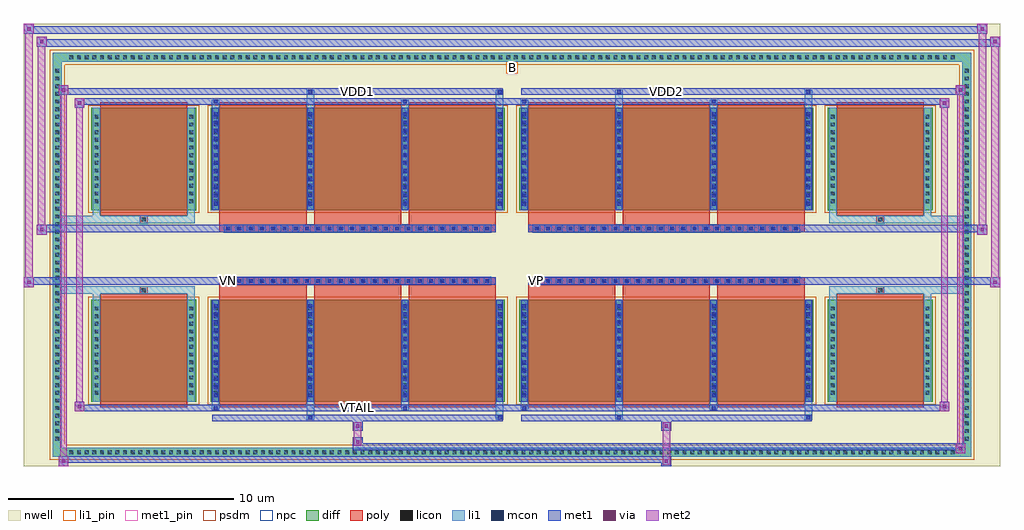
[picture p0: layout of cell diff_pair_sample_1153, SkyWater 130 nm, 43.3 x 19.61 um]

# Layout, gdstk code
import gdstk
lib = gdstk.Library(unit=1e-6, precision=5e-09)
def R(c, l, rs):  # rectangles x0, y0, x1, y1
    for r in rs: c.add(gdstk.rectangle(r[:2], r[2:], *l))
def A(c, l, x, y, w, h, nx, ny, dx, dy):  # array of equal rectangles
    R(c, l, [(x+i*dx, y+j*dy, x+i*dx+w, y+j*dy+h) for i in range(nx) for j in range(ny)])
def P(c, l, *ps):  # polygons
    for p in ps: c.add(gdstk.Polygon(p, *l))
nwell = (64, 20)
diff = (65, 20)
poly = (66, 20)
licon = (66, 44)
li1_pin = (67, 16)
li1 = (67, 20)
mcon = (67, 44)
met1_pin = (68, 16)
met1 = (68, 20)
via = (68, 44)
met2 = (69, 20)
psdm = (94, 20)
npc = (95, 20)

diff_pair_sample_1153 = lib.new_cell('diff_pair_sample_1153')
R(diff_pair_sample_1153, nwell, [(-21.65,-9.37,21.65,10.24), (-18.97,-7.56,-0.01,-0.8), (0.01,-7.56,18.97,-0.8), (-18.97,0.8,-0.01,7.56), (0.01,0.8,18.97,7.56)])
A(diff_pair_sample_1153, diff, -19.755, -8.97, 0.41, 0.41, 116, 2, 0.34, 17.53)
A(diff_pair_sample_1153, diff, -20.38, -8.365, 0.41, 0.41, 1, 49, 0, 0.34)
A(diff_pair_sample_1153, diff, 19.97, -8.365, 0.41, 0.41, 1, 49, 0, 0.34)
R(diff_pair_sample_1153, diff, [(-19.755,-8.97,19.755,-8.56), (-20.38,-8.365,-19.97,8.365), (19.97,-8.365,20.38,8.365), (-18.66,-6.515,-14.01,-1.985), (-13.37,-6.515,-0.32,-1.985), (0.32,-6.515,13.37,-1.985), (14.01,-6.515,18.66,-1.985), (-18.66,1.985,-14.01,6.515), (-13.37,1.985,-0.32,6.515), (0.32,1.985,13.37,6.515), (14.01,1.985,18.66,6.515), (-19.755,8.56,19.755,8.97)])
P(diff_pair_sample_1153, diff, [(20.38,8.97),(-20.38,8.97),(-20.38,-8.56),(-19.97,-8.56),(-19.97,8.56),(19.97,8.56),(19.97,-8.56),(-19.97,-8.56),(-20.38,-8.56),(-20.38,-8.97),(20.38,-8.97)])
A(diff_pair_sample_1153, poly, -12.98, -6.765, 3.87, 5.03, 3, 2, 4.2, 8.5)
A(diff_pair_sample_1153, poly, 0.71, -6.765, 3.87, 5.03, 3, 2, 4.2, 8.5)
A(diff_pair_sample_1153, poly, -12.98, -1.735, 3.87, 0.405, 3, 2, 4.2, 3.065)
A(diff_pair_sample_1153, poly, 0.71, -1.735, 3.87, 0.405, 3, 2, 4.2, 3.065)
A(diff_pair_sample_1153, poly, -12.76, -1.33, 0.33, 0.33, 24, 2, 0.5, 2.33)
A(diff_pair_sample_1153, poly, 0.93, -1.33, 0.33, 0.33, 24, 2, 0.5, 2.33)
R(diff_pair_sample_1153, poly, [(-18.27,-6.765,-14.4,-1.735), (14.4,-6.765,18.27,-1.735), (-16.5,-1.735,-16.17,-1.405), (-16.5,-1.735,-16.17,-1.405), (16.17,-1.735,16.5,-1.405), (16.17,-1.735,16.5,-1.405), (-12.98,-1.33,-0.71,-1), (0.71,-1.33,12.98,-1), (-12.98,1,-0.71,1.33), (0.71,1,12.98,1.33), (-16.5,1.405,-16.17,1.735), (-16.5,1.405,-16.17,1.735), (16.17,1.405,16.5,1.735), (16.17,1.405,16.5,1.735), (-18.27,1.735,-14.4,6.765), (14.4,1.735,18.27,6.765)])
A(diff_pair_sample_1153, licon, -19.635, -8.85, 0.17, 0.17, 116, 2, 0.34, 17.53)
A(diff_pair_sample_1153, licon, -20.26, -8.245, 0.17, 0.17, 1, 49, 0, 0.34)
A(diff_pair_sample_1153, licon, 20.09, -8.245, 0.17, 0.17, 1, 49, 0, 0.34)
A(diff_pair_sample_1153, licon, -18.52, -6.205, 0.17, 0.17, 1, 12, 0, 0.34)
A(diff_pair_sample_1153, licon, -14.32, -6.205, 0.17, 0.17, 1, 12, 0, 0.34)
A(diff_pair_sample_1153, licon, -13.23, -6.205, 0.17, 0.17, 4, 12, 4.2, 0.34)
A(diff_pair_sample_1153, licon, 0.46, -6.205, 0.17, 0.17, 4, 12, 4.2, 0.34)
A(diff_pair_sample_1153, licon, 14.15, -6.205, 0.17, 0.17, 1, 12, 0, 0.34)
A(diff_pair_sample_1153, licon, 18.35, -6.205, 0.17, 0.17, 1, 12, 0, 0.34)
A(diff_pair_sample_1153, licon, -12.68, -1.25, 0.17, 0.17, 24, 2, 0.5, 2.33)
A(diff_pair_sample_1153, licon, 1.01, -1.25, 0.17, 0.17, 24, 2, 0.5, 2.33)
A(diff_pair_sample_1153, licon, -18.52, 2.295, 0.17, 0.17, 1, 12, 0, 0.34)
A(diff_pair_sample_1153, licon, -14.32, 2.295, 0.17, 0.17, 1, 12, 0, 0.34)
A(diff_pair_sample_1153, licon, -13.23, 2.295, 0.17, 0.17, 4, 12, 4.2, 0.34)
A(diff_pair_sample_1153, licon, 0.46, 2.295, 0.17, 0.17, 4, 12, 4.2, 0.34)
A(diff_pair_sample_1153, licon, 14.15, 2.295, 0.17, 0.17, 1, 12, 0, 0.34)
A(diff_pair_sample_1153, licon, 18.35, 2.295, 0.17, 0.17, 1, 12, 0, 0.34)
R(diff_pair_sample_1153, licon, [(-16.42,-1.655,-16.25,-1.485), (16.25,-1.655,16.42,-1.485), (-16.42,1.485,-16.25,1.655), (16.25,1.485,16.42,1.655)])
R(diff_pair_sample_1153, li1_pin, [(-0.25,8.06,0.25,8.56)])
A(diff_pair_sample_1153, li1, -19.715, -8.93, 0.33, 0.33, 116, 2, 0.34, 17.53)
A(diff_pair_sample_1153, li1, -20.34, -8.325, 0.33, 0.33, 1, 49, 0, 0.34)
A(diff_pair_sample_1153, li1, 20.01, -8.325, 0.33, 0.33, 1, 49, 0, 0.34)
A(diff_pair_sample_1153, li1, -13.31, -6.515, 0.33, 4.53, 4, 2, 4.2, 8.5)
A(diff_pair_sample_1153, li1, 0.38, -6.515, 0.33, 4.53, 4, 2, 4.2, 8.5)
A(diff_pair_sample_1153, li1, -13.23, -6.315, 0.17, 0.17, 4, 12, 4.2, 0.36)
A(diff_pair_sample_1153, li1, -13.23, -6.315, 0.17, 4.13, 4, 2, 4.2, 8.5)
A(diff_pair_sample_1153, li1, 0.46, -6.315, 0.17, 0.17, 4, 12, 4.2, 0.36)
A(diff_pair_sample_1153, li1, 0.46, -6.315, 0.17, 4.13, 4, 2, 4.2, 8.5)
A(diff_pair_sample_1153, li1, -18.6, -6.285, 0.33, 0.33, 1, 12, 0, 0.34)
A(diff_pair_sample_1153, li1, -14.4, -6.285, 0.33, 0.33, 1, 12, 0, 0.34)
A(diff_pair_sample_1153, li1, -13.31, -6.285, 0.33, 0.33, 4, 12, 4.2, 0.34)
A(diff_pair_sample_1153, li1, 0.38, -6.285, 0.33, 0.33, 4, 12, 4.2, 0.34)
A(diff_pair_sample_1153, li1, 14.07, -6.285, 0.33, 0.33, 1, 12, 0, 0.34)
A(diff_pair_sample_1153, li1, 18.27, -6.285, 0.33, 0.33, 1, 12, 0, 0.34)
A(diff_pair_sample_1153, li1, -12.76, -1.33, 0.33, 0.33, 24, 2, 0.5, 2.33)
A(diff_pair_sample_1153, li1, 0.93, -1.33, 0.33, 0.33, 24, 2, 0.5, 2.33)
A(diff_pair_sample_1153, li1, -13.23, 2.185, 0.17, 0.17, 4, 12, 4.2, 0.36)
A(diff_pair_sample_1153, li1, 0.46, 2.185, 0.17, 0.17, 4, 12, 4.2, 0.36)
A(diff_pair_sample_1153, li1, -18.6, 2.215, 0.33, 0.33, 1, 12, 0, 0.34)
A(diff_pair_sample_1153, li1, -14.4, 2.215, 0.33, 0.33, 1, 12, 0, 0.34)
A(diff_pair_sample_1153, li1, -13.31, 2.215, 0.33, 0.33, 4, 12, 4.2, 0.34)
A(diff_pair_sample_1153, li1, 0.38, 2.215, 0.33, 0.33, 4, 12, 4.2, 0.34)
A(diff_pair_sample_1153, li1, 14.07, 2.215, 0.33, 0.33, 1, 12, 0, 0.34)
A(diff_pair_sample_1153, li1, 18.27, 2.215, 0.33, 0.33, 1, 12, 0, 0.34)
R(diff_pair_sample_1153, li1, [(-20.38,-8.97,-19.97,-8.56), (-20.38,-8.97,-19.97,-8.56), (-19.97,-8.97,19.97,-8.56), (19.97,-8.97,20.38,-8.56), (19.97,-8.97,20.38,-8.56), (-20.38,-8.56,-19.97,8.56), (19.97,-8.56,20.38,8.56), (-9.11,-7.32,-8.78,-6.515), (-9.03,-7.32,-8.86,-7.15), (-0.71,-7.32,-0.38,-6.515), (-0.63,-7.32,-0.46,-7.15), (4.58,-7.32,4.91,-6.515), (4.66,-7.32,4.83,-7.15), (12.98,-7.32,13.31,-6.515), (13.06,-7.32,13.23,-7.15), (-13.31,-6.89,-12.98,-6.515), (-13.23,-6.89,-13.06,-6.72), (-4.91,-6.89,-4.58,-6.515), (-4.83,-6.89,-4.66,-6.72), (0.38,-6.89,0.71,-6.515), (0.46,-6.89,0.63,-6.72), (8.78,-6.89,9.11,-6.515), (8.86,-6.89,9.03,-6.72), (-18.6,-6.515,-18.27,-1.985), (-14.4,-6.515,-14.07,-1.985), (14.07,-6.515,14.4,-1.985), (18.27,-6.515,18.6,-1.985), (-18.6,-1.985,-18.27,-1.405), (-14.4,-1.985,-14.07,-1.405), (14.07,-1.985,14.4,-1.405), (18.27,-1.985,18.6,-1.405), (-20.38,-1.735,-16.5,-1.405), (-18.6,-1.735,-16.5,-1.405), (-16.5,-1.735,-16.17,-1.405), (-16.17,-1.735,-14.07,-1.405), (14.07,-1.735,16.17,-1.405), (16.17,-1.735,16.5,-1.405), (16.17,-1.735,20.38,-1.405), (16.5,-1.735,18.6,-1.405), (-20.38,1.405,-16.5,1.735), (-18.6,1.405,-16.5,1.735), (-18.6,1.405,-18.27,1.985), (-16.5,1.405,-16.17,1.735), (-16.17,1.405,-14.07,1.735), (-14.4,1.405,-14.07,1.985), (14.07,1.405,16.17,1.735), (14.07,1.405,14.4,1.985), (16.17,1.405,16.5,1.735), (16.17,1.405,20.38,1.735), (16.5,1.405,18.6,1.735), (18.27,1.405,18.6,1.985), (-18.6,1.985,-18.27,6.515), (-14.4,1.985,-14.07,6.515), (14.07,1.985,14.4,6.515), (18.27,1.985,18.6,6.515), (-13.31,6.515,-12.98,6.89), (-9.11,6.515,-8.78,7.32), (-4.91,6.515,-4.58,6.89), (-0.71,6.515,-0.38,7.32), (0.38,6.515,0.71,6.89), (4.58,6.515,4.91,7.32), (8.78,6.515,9.11,6.89), (12.98,6.515,13.31,7.32), (-13.23,6.72,-13.06,6.89), (-4.83,6.72,-4.66,6.89), (0.46,6.72,0.63,6.89), (8.86,6.72,9.03,6.89), (-9.03,7.15,-8.86,7.32), (-0.63,7.15,-0.46,7.32), (4.66,7.15,4.83,7.32), (13.06,7.15,13.23,7.32), (-20.38,8.56,-19.97,8.97), (-20.38,8.56,-19.97,8.97), (-19.97,8.56,19.97,8.97), (19.97,8.56,20.38,8.97), (19.97,8.56,20.38,8.97)])
A(diff_pair_sample_1153, mcon, -13.23, -6.315, 0.17, 0.17, 4, 12, 4.2, 0.36)
A(diff_pair_sample_1153, mcon, 0.46, -6.315, 0.17, 0.17, 4, 12, 4.2, 0.36)
A(diff_pair_sample_1153, mcon, -12.68, -1.25, 0.17, 0.17, 24, 2, 0.5, 2.33)
A(diff_pair_sample_1153, mcon, 1.01, -1.25, 0.17, 0.17, 24, 2, 0.5, 2.33)
A(diff_pair_sample_1153, mcon, -13.23, 2.185, 0.17, 0.17, 4, 12, 4.2, 0.36)
A(diff_pair_sample_1153, mcon, 0.46, 2.185, 0.17, 0.17, 4, 12, 4.2, 0.36)
R(diff_pair_sample_1153, mcon, [(-9.03,-7.32,-8.86,-7.15), (-0.63,-7.32,-0.46,-7.15), (4.66,-7.32,4.83,-7.15), (13.06,-7.32,13.23,-7.15), (-13.23,-6.89,-13.06,-6.72), (-4.83,-6.89,-4.66,-6.72), (0.46,-6.89,0.63,-6.72), (8.86,-6.89,9.03,-6.72), (-13.23,6.72,-13.06,6.89), (-4.83,6.72,-4.66,6.89), (0.46,6.72,0.63,6.89), (8.86,6.72,9.03,6.89), (-9.03,7.15,-8.86,7.32), (-0.63,7.15,-0.46,7.32), (4.66,7.15,4.83,7.32), (13.06,7.15,13.23,7.32)])
R(diff_pair_sample_1153, met1_pin, [(-6.98,-6.93,-6.71,-6.66), (-12.73,-1.29,-12.46,-1.02), (0.96,-1.29,1.23,-1.02), (-6.98,7.11,-6.71,7.38), (6.71,7.11,6.98,7.38)])
A(diff_pair_sample_1153, met1, -13.29, -6.515, 0.29, 4.53, 4, 2, 4.2, 8.5)
A(diff_pair_sample_1153, met1, 0.4, -6.515, 0.29, 4.53, 4, 2, 4.2, 8.5)
A(diff_pair_sample_1153, met1, -13.29, -6.375, 0.29, 0.29, 4, 12, 4.2, 0.36)
A(diff_pair_sample_1153, met1, 0.4, -6.375, 0.29, 0.29, 4, 12, 4.2, 0.36)
A(diff_pair_sample_1153, met1, -12.74, -1.31, 0.29, 0.29, 24, 2, 0.5, 2.33)
A(diff_pair_sample_1153, met1, 0.95, -1.31, 0.29, 0.29, 24, 2, 0.5, 2.33)
A(diff_pair_sample_1153, met1, -13.29, 2.125, 0.29, 0.29, 4, 12, 4.2, 0.36)
A(diff_pair_sample_1153, met1, 0.4, 2.125, 0.29, 0.29, 4, 12, 4.2, 0.36)
R(diff_pair_sample_1153, met1, [(-20.11,-9.37,-19.68,-8.94), (6.63,-9.37,7.06,-8.94), (-20.11,-9.23,7.06,-8.94), (19.68,-8.8,20.11,-8.37), (-7.06,-8.66,20.11,-8.37), (-7.06,-8.52,-6.63,-8.09), (-7.06,-7.81,-6.63,-7.38), (6.63,-7.81,7.06,-7.38), (-13.29,-7.38,-0.4,-7.09), (-9.09,-7.38,-8.8,-7.09), (-0.69,-7.38,-0.4,-7.09), (0.4,-7.38,13.29,-7.09), (4.6,-7.38,4.89,-7.09), (13,-7.38,13.29,-7.09), (-19.4,-6.95,-18.97,-6.52), (-19.4,-6.95,-13.29,-6.66), (-13.29,-6.95,-13,-6.66), (-13.29,-6.95,-0.4,-6.66), (-4.89,-6.95,-4.6,-6.66), (-0.4,-6.95,0.4,-6.66), (0.4,-6.95,0.69,-6.66), (0.4,-6.95,13.29,-6.66), (8.8,-6.95,9.09,-6.66), (13.29,-6.95,19.4,-6.66), (18.97,-6.95,19.4,-6.52), (-21.65,-1.43,-21.22,-1), (21.22,-1.43,21.65,-1), (-21.65,-1.33,-0.71,-1), (-12.98,-1.33,-0.71,-1), (0.71,-1.33,12.98,-1), (0.71,-1.33,21.65,-1), (-21.08,0.9,-20.65,1.33), (20.65,0.9,21.08,1.33), (-21.08,1,-12.98,1.33), (-12.98,1,-0.71,1.33), (0.71,1,12.98,1.33), (12.98,1,21.08,1.33), (-19.4,6.52,-18.97,6.95), (18.97,6.52,19.4,6.95), (-19.4,6.66,-13.29,6.95), (-13.29,6.66,-13,6.95), (-13.29,6.66,-0.4,6.95), (-4.89,6.66,-4.6,6.95), (-0.4,6.66,0.4,6.95), (0.4,6.66,0.69,6.95), (0.4,6.66,13.29,6.95), (8.8,6.66,9.09,6.95), (13.29,6.66,19.4,6.95), (-20.11,7.09,-19.68,7.52), (-20.11,7.09,-13.29,7.38), (-13.29,7.09,-0.4,7.38), (-9.09,7.09,-8.8,7.38), (-0.69,7.09,-0.4,7.38), (0.4,7.09,13.29,7.38), (4.6,7.09,4.89,7.38), (13,7.09,13.29,7.38), (13.29,7.09,20.11,7.38), (19.68,7.09,20.11,7.52), (-21.08,9.24,-20.65,9.67), (-21.08,9.24,-18.97,9.57), (-18.97,9.24,18.97,9.57), (18.97,9.24,21.65,9.57), (21.22,9.24,21.65,9.67), (-21.65,9.81,-21.22,10.24), (-21.65,9.81,-18.97,10.14), (-18.97,9.81,18.97,10.14), (18.97,9.81,21.08,10.14), (20.65,9.81,21.08,10.24)])
R(diff_pair_sample_1153, via, [(-19.97,-9.23,-19.82,-9.08), (6.77,-9.23,6.92,-9.08), (19.82,-8.66,19.97,-8.51), (-6.92,-8.38,-6.77,-8.23), (-6.92,-7.67,-6.77,-7.52), (6.77,-7.67,6.92,-7.52), (-19.26,-6.81,-19.11,-6.66), (19.11,-6.81,19.26,-6.66), (-21.51,-1.29,-21.36,-1.14), (21.36,-1.29,21.51,-1.14), (-20.94,1.04,-20.79,1.19), (20.79,1.04,20.94,1.19), (-19.26,6.66,-19.11,6.81), (19.11,6.66,19.26,6.81), (-19.97,7.23,-19.82,7.38), (19.82,7.23,19.97,7.38), (-20.94,9.38,-20.79,9.53), (21.36,9.38,21.51,9.53), (-21.51,9.95,-21.36,10.1), (20.79,9.95,20.94,10.1)])
R(diff_pair_sample_1153, met2, [(-20.11,-9.37,-19.68,-8.94), (-20.04,-9.37,-19.75,7.52), (-19.75,-9.37,-19.68,-8.94), (-20.06,-9.32,-19.73,-8.99), (6.68,-9.32,7.01,-8.99), (6.68,-8.99,7.01,-7.76), (19.68,-8.8,20.11,-8.37), (19.75,-8.8,20.04,7.52), (20.04,-8.8,20.11,-8.37), (19.73,-8.75,20.06,-8.42), (-7.01,-8.47,-6.68,-8.14), (-7.01,-8.14,-6.68,-7.76), (-7.01,-7.76,-6.68,-7.43), (6.68,-7.76,7.01,-7.43), (-19.4,-6.95,-18.97,-6.52), (-19.33,-6.95,-19.04,6.95), (-19.04,-6.95,-18.97,-6.52), (18.97,-6.95,19.4,-6.52), (19.04,-6.95,19.33,6.95), (19.33,-6.95,19.4,-6.52), (-19.35,-6.9,-19.02,-6.57), (19.02,-6.9,19.35,-6.57), (-21.65,-1.43,-21.22,-1), (-21.6,-1.43,-21.27,10.24), (-21.27,-1.43,-21.22,-1), (21.22,-1.43,21.65,-1), (21.27,-1.43,21.6,9.67), (21.6,-1.43,21.65,-1), (-21.6,-1.38,-21.27,-1.05), (21.27,-1.38,21.6,-1.05), (-21.08,0.9,-20.65,1.33), (-21.03,0.9,-20.7,9.67), (-20.7,0.9,-20.65,1.33), (20.65,0.9,21.08,1.33), (20.7,0.9,21.03,10.24), (21.03,0.9,21.08,1.33), (-21.03,0.95,-20.7,1.28), (20.7,0.95,21.03,1.28), (-19.4,6.52,-18.97,6.95), (-19.04,6.52,-18.97,6.95), (18.97,6.52,19.4,6.95), (19.33,6.52,19.4,6.95), (-19.35,6.57,-19.02,6.9), (19.02,6.57,19.35,6.9), (-20.11,7.09,-19.68,7.52), (-19.75,7.09,-19.68,7.52), (19.68,7.09,20.11,7.52), (20.04,7.09,20.11,7.52), (-20.06,7.14,-19.73,7.47), (19.73,7.14,20.06,7.47), (-21.08,9.24,-20.65,9.67), (-20.7,9.24,-20.65,9.67), (21.22,9.24,21.65,9.67), (21.6,9.24,21.65,9.67), (-21.03,9.29,-20.7,9.62), (21.27,9.29,21.6,9.62), (-21.65,9.81,-21.22,10.24), (-21.27,9.81,-21.22,10.24), (20.65,9.81,21.08,10.24), (21.03,9.81,21.08,10.24), (-21.6,9.86,-21.27,10.19), (20.7,9.86,21.03,10.19)])
R(diff_pair_sample_1153, psdm, [(-18.79,-6.645,-13.88,-1.855), (-13.5,-6.645,-0.19,-1.855), (0.19,-6.645,13.5,-1.855), (13.88,-6.645,18.79,-1.855), (-18.79,1.855,-13.88,6.645), (-13.5,1.855,-0.19,6.645), (0.19,1.855,13.5,6.645), (13.88,1.855,18.79,6.645)])
P(diff_pair_sample_1153, psdm, [(20.51,9.1),(-20.51,9.1),(-20.51,-8.43),(-19.84,-8.43),(-19.84,8.43),(19.84,8.43),(19.84,-8.43),(-19.84,-8.43),(-20.51,-8.43),(-20.51,-9.1),(20.51,-9.1)])
A(diff_pair_sample_1153, npc, -12.78, -1.35, 0.37, 0.37, 24, 2, 0.5, 2.33)
A(diff_pair_sample_1153, npc, 0.91, -1.35, 0.37, 0.37, 24, 2, 0.5, 2.33)
R(diff_pair_sample_1153, npc, [(-16.52,-1.755,-16.15,-1.385), (16.15,-1.755,16.52,-1.385), (-12.78,-1.35,-11.91,-0.98), (-12.78,-1.35,-11.91,-0.98), (-12.28,-1.35,-11.41,-0.98), (-12.28,-1.35,-11.41,-0.98), (-11.78,-1.35,-10.91,-0.98), (-11.78,-1.35,-10.91,-0.98), (-11.28,-1.35,-10.41,-0.98), (-11.28,-1.35,-10.41,-0.98), (-10.78,-1.35,-9.91,-0.98), (-10.78,-1.35,-9.91,-0.98), (-10.28,-1.35,-9.41,-0.98), (-10.28,-1.35,-9.41,-0.98), (-9.78,-1.35,-8.91,-0.98), (-9.78,-1.35,-8.91,-0.98), (-9.28,-1.35,-8.41,-0.98), (-9.28,-1.35,-8.41,-0.98), (-8.78,-1.35,-7.91,-0.98), (-8.78,-1.35,-7.91,-0.98), (-8.28,-1.35,-7.41,-0.98), (-8.28,-1.35,-7.41,-0.98), (-7.78,-1.35,-6.91,-0.98), (-7.78,-1.35,-6.91,-0.98), (-7.28,-1.35,-6.41,-0.98), (-7.28,-1.35,-6.41,-0.98), (-6.78,-1.35,-5.91,-0.98), (-6.78,-1.35,-5.91,-0.98), (-6.28,-1.35,-5.41,-0.98), (-6.28,-1.35,-5.41,-0.98), (-5.78,-1.35,-4.91,-0.98), (-5.78,-1.35,-4.91,-0.98), (-5.28,-1.35,-4.41,-0.98), (-5.28,-1.35,-4.41,-0.98), (-4.78,-1.35,-3.91,-0.98), (-4.78,-1.35,-3.91,-0.98), (-4.28,-1.35,-3.41,-0.98), (-4.28,-1.35,-3.41,-0.98), (-3.78,-1.35,-2.91,-0.98), (-3.78,-1.35,-2.91,-0.98), (-3.28,-1.35,-2.41,-0.98), (-3.28,-1.35,-2.41,-0.98), (-2.78,-1.35,-1.91,-0.98), (-2.78,-1.35,-1.91,-0.98), (-2.28,-1.35,-1.41,-0.98), (-2.28,-1.35,-1.41,-0.98), (-1.78,-1.35,-0.91,-0.98), (-1.78,-1.35,-0.91,-0.98), (0.91,-1.35,1.78,-0.98), (0.91,-1.35,1.78,-0.98), (1.41,-1.35,2.28,-0.98), (1.41,-1.35,2.28,-0.98), (1.91,-1.35,2.78,-0.98), (1.91,-1.35,2.78,-0.98), (2.41,-1.35,3.28,-0.98), (2.41,-1.35,3.28,-0.98), (2.91,-1.35,3.78,-0.98), (2.91,-1.35,3.78,-0.98), (3.41,-1.35,4.28,-0.98), (3.41,-1.35,4.28,-0.98), (3.91,-1.35,4.78,-0.98), (3.91,-1.35,4.78,-0.98), (4.41,-1.35,5.28,-0.98), (4.41,-1.35,5.28,-0.98), (4.91,-1.35,5.78,-0.98), (4.91,-1.35,5.78,-0.98), (5.41,-1.35,6.28,-0.98), (5.41,-1.35,6.28,-0.98), (5.91,-1.35,6.78,-0.98), (5.91,-1.35,6.78,-0.98), (6.41,-1.35,7.28,-0.98), (6.41,-1.35,7.28,-0.98), (6.91,-1.35,7.78,-0.98), (6.91,-1.35,7.78,-0.98), (7.41,-1.35,8.28,-0.98), (7.41,-1.35,8.28,-0.98), (7.91,-1.35,8.78,-0.98), (7.91,-1.35,8.78,-0.98), (8.41,-1.35,9.28,-0.98), (8.41,-1.35,9.28,-0.98), (8.91,-1.35,9.78,-0.98), (8.91,-1.35,9.78,-0.98), (9.41,-1.35,10.28,-0.98), (9.41,-1.35,10.28,-0.98), (9.91,-1.35,10.78,-0.98), (9.91,-1.35,10.78,-0.98), (10.41,-1.35,11.28,-0.98), (10.41,-1.35,11.28,-0.98), (10.91,-1.35,11.78,-0.98), (10.91,-1.35,11.78,-0.98), (11.41,-1.35,12.28,-0.98), (11.41,-1.35,12.28,-0.98), (11.91,-1.35,12.78,-0.98), (11.91,-1.35,12.78,-0.98), (-12.78,0.98,-11.91,1.35), (-12.78,0.98,-11.91,1.35), (-12.28,0.98,-11.41,1.35), (-12.28,0.98,-11.41,1.35), (-11.78,0.98,-10.91,1.35), (-11.78,0.98,-10.91,1.35), (-11.28,0.98,-10.41,1.35), (-11.28,0.98,-10.41,1.35), (-10.78,0.98,-9.91,1.35), (-10.78,0.98,-9.91,1.35), (-10.28,0.98,-9.41,1.35), (-10.28,0.98,-9.41,1.35), (-9.78,0.98,-8.91,1.35), (-9.78,0.98,-8.91,1.35), (-9.28,0.98,-8.41,1.35), (-9.28,0.98,-8.41,1.35), (-8.78,0.98,-7.91,1.35), (-8.78,0.98,-7.91,1.35), (-8.28,0.98,-7.41,1.35), (-8.28,0.98,-7.41,1.35), (-7.78,0.98,-6.91,1.35), (-7.78,0.98,-6.91,1.35), (-7.28,0.98,-6.41,1.35), (-7.28,0.98,-6.41,1.35), (-6.78,0.98,-5.91,1.35), (-6.78,0.98,-5.91,1.35), (-6.28,0.98,-5.41,1.35), (-6.28,0.98,-5.41,1.35), (-5.78,0.98,-4.91,1.35), (-5.78,0.98,-4.91,1.35), (-5.28,0.98,-4.41,1.35), (-5.28,0.98,-4.41,1.35), (-4.78,0.98,-3.91,1.35), (-4.78,0.98,-3.91,1.35), (-4.28,0.98,-3.41,1.35), (-4.28,0.98,-3.41,1.35), (-3.78,0.98,-2.91,1.35), (-3.78,0.98,-2.91,1.35), (-3.28,0.98,-2.41,1.35), (-3.28,0.98,-2.41,1.35), (-2.78,0.98,-1.91,1.35), (-2.78,0.98,-1.91,1.35), (-2.28,0.98,-1.41,1.35), (-2.28,0.98,-1.41,1.35), (-1.78,0.98,-0.91,1.35), (-1.78,0.98,-0.91,1.35), (0.91,0.98,1.78,1.35), (0.91,0.98,1.78,1.35), (1.41,0.98,2.28,1.35), (1.41,0.98,2.28,1.35), (1.91,0.98,2.78,1.35), (1.91,0.98,2.78,1.35), (2.41,0.98,3.28,1.35), (2.41,0.98,3.28,1.35), (2.91,0.98,3.78,1.35), (2.91,0.98,3.78,1.35), (3.41,0.98,4.28,1.35), (3.41,0.98,4.28,1.35), (3.91,0.98,4.78,1.35), (3.91,0.98,4.78,1.35), (4.41,0.98,5.28,1.35), (4.41,0.98,5.28,1.35), (4.91,0.98,5.78,1.35), (4.91,0.98,5.78,1.35), (5.41,0.98,6.28,1.35), (5.41,0.98,6.28,1.35), (5.91,0.98,6.78,1.35), (5.91,0.98,6.78,1.35), (6.41,0.98,7.28,1.35), (6.41,0.98,7.28,1.35), (6.91,0.98,7.78,1.35), (6.91,0.98,7.78,1.35), (7.41,0.98,8.28,1.35), (7.41,0.98,8.28,1.35), (7.91,0.98,8.78,1.35), (7.91,0.98,8.78,1.35), (8.41,0.98,9.28,1.35), (8.41,0.98,9.28,1.35), (8.91,0.98,9.78,1.35), (8.91,0.98,9.78,1.35), (9.41,0.98,10.28,1.35), (9.41,0.98,10.28,1.35), (9.91,0.98,10.78,1.35), (9.91,0.98,10.78,1.35), (10.41,0.98,11.28,1.35), (10.41,0.98,11.28,1.35), (10.91,0.98,11.78,1.35), (10.91,0.98,11.78,1.35), (11.41,0.98,12.28,1.35), (11.41,0.98,12.28,1.35), (11.91,0.98,12.78,1.35), (11.91,0.98,12.78,1.35), (-16.52,1.385,-16.15,1.755), (16.15,1.385,16.52,1.755)])
diff_pair_sample_1153.add(gdstk.Label('VTAIL', (-6.845,-6.795), layer=68, texttype=5))
diff_pair_sample_1153.add(gdstk.Label('VN', (-12.595,-1.155), layer=68, texttype=5))
diff_pair_sample_1153.add(gdstk.Label('VP', (1.095,-1.155), layer=68, texttype=5))
diff_pair_sample_1153.add(gdstk.Label('B', (0,8.31), layer=67, texttype=5))
diff_pair_sample_1153.add(gdstk.Label('VDD2', (6.845,7.245), layer=68, texttype=5))
diff_pair_sample_1153.add(gdstk.Label('VDD1', (-6.845,7.245), layer=68, texttype=5))

lib.write_gds('diff_pair_sample_1153.gds')
